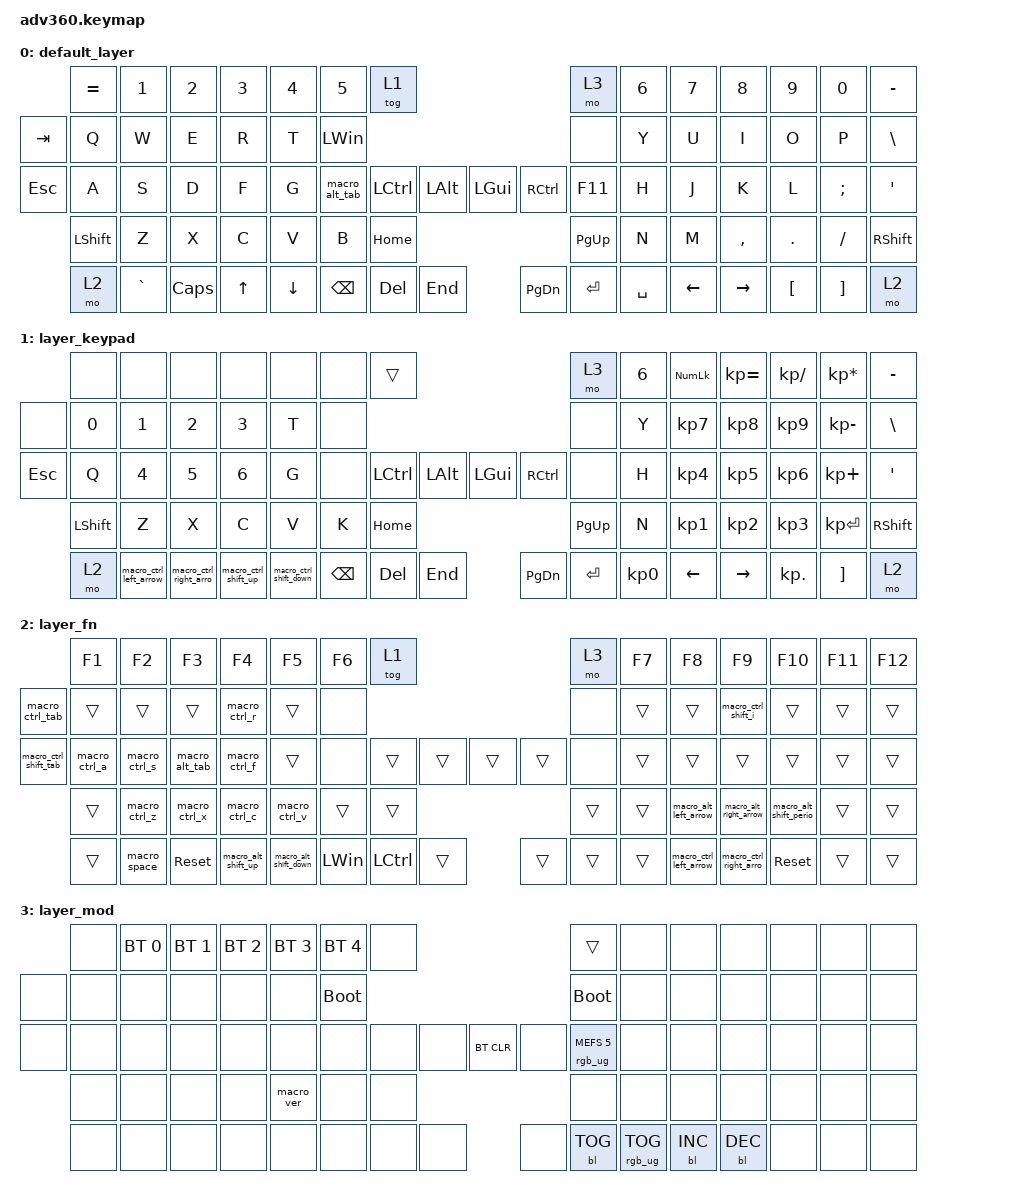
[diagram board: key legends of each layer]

/*
 * Copyright (c) 2020 The ZMK Contributors
 *
 * SPDX-License-Identifier: MIT
 */


/* THIS FILE WAS GENERATED!
 *
 * This file was generated automatically. You may or may not want to
 * edit it directly.
 */

#include <behaviors.dtsi>
#include <dt-bindings/zmk/keys.h>
#include <dt-bindings/zmk/bt.h>
#include <dt-bindings/zmk/rgb.h>
#include <dt-bindings/zmk/backlight.h>

/ {
  behaviors {
    #include "macros.dtsi"
    #include "version.dtsi"

    hm: homerow_mods {
        compatible = "zmk,behavior-hold-tap";
        label = "HOMEROW_MODS";
        #binding-cells = <2>;
        tapping-term-ms = <200>;
        quick_tap_ms = <175>;
        flavor = "tap-preferred";
        bindings = <&kp>, <&kp>;
    };
  };

    keymap {
        compatible = "zmk,keymap";


        default_layer {
            bindings = <
 &kp EQUAL     &kp N1    &kp N2        &kp N3          &kp N4  &kp N5                    &tog 1                                                                 &mo 3  &kp N6          &kp N7           &kp N8    &kp N9    &kp N0  &kp MINUS
   &kp TAB      &kp Q     &kp W         &kp E           &kp R   &kp T              &kp LEFT_WIN                                                                 &none   &kp Y           &kp U            &kp I     &kp O     &kp P   &kp BSLH
   &kp ESC      &kp A     &kp S         &kp D           &kp F   &kp G            &macro_alt_tab  &kp LCTRL  &kp LALT                   &kp LGUI  &kp RCTRL    &kp F11   &kp H           &kp J            &kp K     &kp L  &kp SEMI    &kp SQT
 &kp LSHFT      &kp Z     &kp X         &kp C           &kp V   &kp B                                       &kp HOME                  &kp PG_UP                         &kp N           &kp M        &kp COMMA   &kp DOT  &kp FSLH  &kp RSHFT
     &mo 2  &kp GRAVE  &kp CAPS  &kp UP_ARROW  &kp DOWN_ARROW                          &kp BSPC    &kp DEL   &kp END                  &kp PG_DN  &kp ENTER  &kp SPACE          &kp LEFT_ARROW  &kp RIGHT_ARROW  &kp LBKT  &kp RBKT      &mo 2
            >;
        };

        layer_keypad {
            bindings = <
     &none                   &none                   &none                 &none                   &none   &none              &trans                                                                 &mo 3  &kp N6  &kp KP_NUM  &kp KP_EQUAL  &kp KP_DIVIDE  &kp KP_MULTIPLY  &kp MINUS
     &none                  &kp N0                  &kp N1                &kp N2                  &kp N3   &kp T               &none                                                                 &none   &kp Y   &kp KP_N7     &kp KP_N8      &kp KP_N9     &kp KP_MINUS   &kp BSLH
   &kp ESC                   &kp Q                  &kp N4                &kp N5                  &kp N6   &kp G               &none  &kp LCTRL  &kp LALT                   &kp LGUI  &kp RCTRL      &none   &kp H   &kp KP_N4     &kp KP_N5      &kp KP_N6      &kp KP_PLUS    &kp SQT
 &kp LSHFT                   &kp Z                   &kp X                 &kp C                   &kp V   &kp K                                 &kp HOME                  &kp PG_UP                         &kp N   &kp KP_N1     &kp KP_N2      &kp KP_N3     &kp KP_ENTER  &kp RSHFT
     &mo 2  &macro_ctrl_left_arrow  &macro_ctrl_right_arro  &macro_ctrl_shift_up  &macro_ctrl_shift_down                    &kp BSPC    &kp DEL   &kp END                  &kp PG_DN  &kp ENTER  &kp KP_N0            &kp LEFT     &kp RIGHT     &kp KP_DOT         &kp RBKT      &mo 2
            >;
        };

        layer_fn {
            bindings = <
                &kp F1         &kp F2         &kp F3               &kp F4                 &kp F5  &kp F6                  &tog 1                                                      &mo 3  &kp F7                  &kp F8                  &kp F9                 &kp F10  &kp F11  &kp F12
       &macro_ctrl_tab         &trans         &trans               &trans          &macro_ctrl_r  &trans                   &none                                                      &none  &trans                  &trans     &macro_ctrl_shift_i                  &trans   &trans   &trans
 &macro_ctrl_shift_tab  &macro_ctrl_a  &macro_ctrl_s       &macro_alt_tab          &macro_ctrl_f  &trans                   &none     &trans  &trans                  &trans  &trans   &none  &trans                  &trans                  &trans                  &trans   &trans   &trans
                &trans  &macro_ctrl_z  &macro_ctrl_x        &macro_ctrl_c          &macro_ctrl_v  &trans                                     &trans                  &trans                  &trans   &macro_alt_left_arrow  &macro_alt_right_arrow  &macro_alt_shift_perio   &trans   &trans
                &trans   &macro_space     &sys_reset  &macro_alt_shift_up  &macro_alt_shift_down                    &kp LEFT_WIN  &kp LCTRL  &trans                  &trans  &trans  &trans          &macro_ctrl_left_arrow  &macro_ctrl_right_arro              &sys_reset   &trans   &trans
            >;
        };

        layer_mod {
            bindings = <
  &none  &bt BT_SEL 0  &bt BT_SEL 1  &bt BT_SEL 2  &bt BT_SEL 3  &bt BT_SEL 4                  &none                                                                          &trans   &none       &none       &none   &none   &none   &none
  &none         &none         &none         &none         &none         &none            &bootloader                                                                     &bootloader   &none       &none       &none   &none   &none   &none
  &none         &none         &none         &none         &none         &none                  &none   &none   &none                  &bt BT_CLR       &none  &rgb_ug RGB_MEFS_CMD 5   &none       &none       &none   &none   &none   &none
  &none         &none         &none         &none    &macro_ver         &none                                  &none                       &none                                       &none       &none       &none   &none   &none   &none
  &none         &none         &none         &none         &none                                &none   &none   &none                       &none  &bl BL_TOG         &rgb_ug RGB_TOG          &bl BL_INC  &bl BL_DEC   &none   &none   &none
            >;
        };

    };
};
